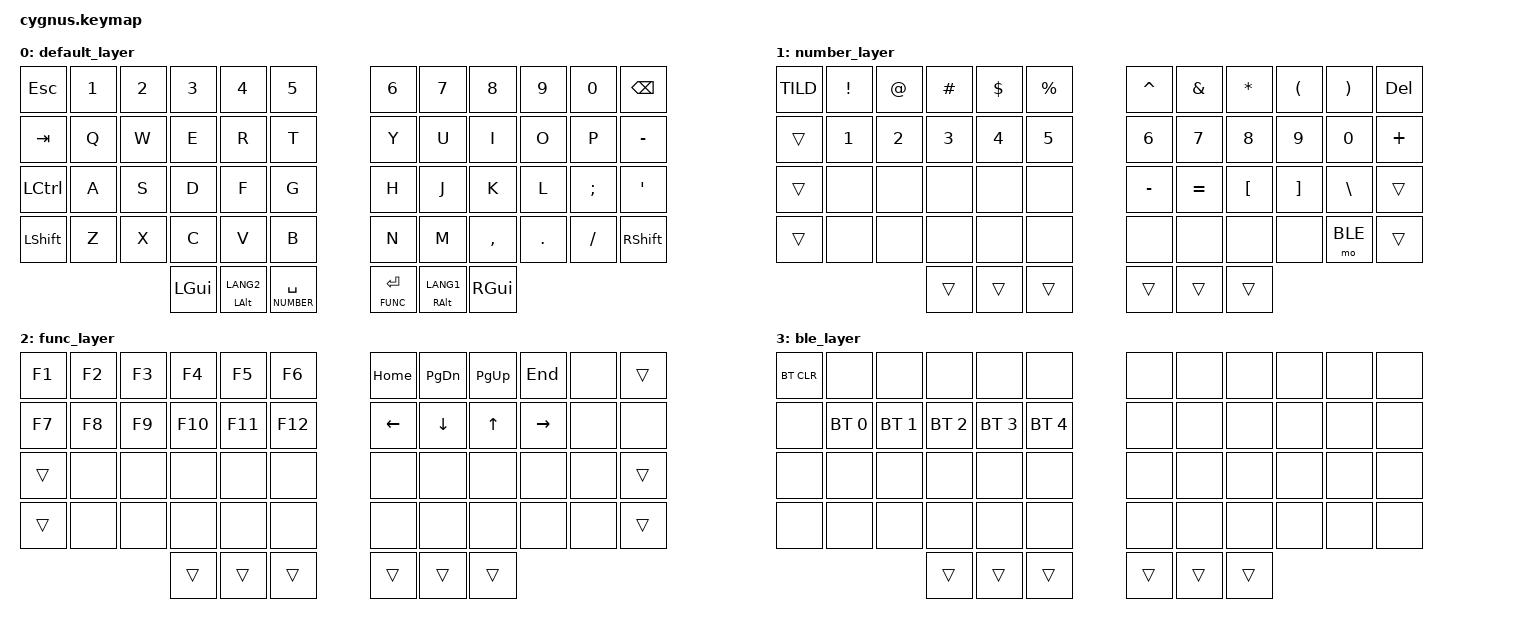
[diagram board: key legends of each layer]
#include <behaviors.dtsi>
#include <dt-bindings/zmk/bt.h>
#include <dt-bindings/zmk/keys.h>

// レイヤー名に番号（ID）を再割り当て（0〜3の4レイヤー構成）

#define DEFAULT 0
#define NUMBER  1
#define FUNC    2
#define BLE     3

/ {
    keymap {
        compatible = "zmk,keymap";

        // レイヤー 0 : デフォルト

        default_layer {
            bindings = <
&kp ESC    &kp N1  &kp N2  &kp N3    &kp N4          &kp N5            &kp N6          &kp N7          &kp N8     &kp N9   &kp N0    &kp BSPC
&kp TAB    &kp Q   &kp W   &kp E     &kp R           &kp T             &kp Y           &kp U           &kp I      &kp O    &kp P     &kp MINUS
&kp LCTRL  &kp A   &kp S   &kp D     &kp F           &kp G             &kp H           &kp J           &kp K      &kp L    &kp SEMI  &kp SQT
&kp LSHFT  &kp Z   &kp X   &kp C     &kp V           &kp B             &kp N           &kp M           &kp COMMA  &kp DOT  &kp FSLH  &kp RSHFT
                           &kp LGUI  &mt LALT LANG2  &lt NUMBER SPACE  &lt FUNC ENTER  &mt RALT LANG1  &kp RGUI
            >;
        };

        // レイヤー 1 : 数字・記号 (左親指ホールドで切り替え)

        number_layer {
            bindings = <
&kp TILD  &kp EXCL  &kp AT  &kp HASH  &kp DLLR  &kp PRCNT  &kp CARET  &kp AMPS   &kp ASTRK  &kp LPAR  &kp RPAR  &kp DEL
&trans    &kp N1    &kp N2  &kp N3    &kp N4    &kp N5     &kp N6     &kp N7     &kp N8     &kp N9    &kp N0    &kp PLUS
&trans    &none     &none   &none     &none     &none      &kp MINUS  &kp EQUAL  &kp LBKT   &kp RBKT  &kp BSLH  &trans
&trans    &none     &none   &none     &none     &none      &none      &none      &none      &none     &mo BLE   &trans
                            &trans    &trans    &trans     &trans     &trans     &trans
            >;
        };

        // レイヤー 2 : ファンクション・矢印 (右親指ホールドで切り替え)

        func_layer {
            bindings = <
&kp F1  &kp F2  &kp F3  &kp F4   &kp F5   &kp F6   &kp HOME  &kp PG_DN  &kp PG_UP  &kp END    &none  &trans
&kp F7  &kp F8  &kp F9  &kp F10  &kp F11  &kp F12  &kp LEFT  &kp DOWN   &kp UP     &kp RIGHT  &none  &none
&trans  &none   &none   &none    &none    &none    &none     &none      &none      &none      &none  &trans
&trans  &none   &none   &none    &none    &none    &none     &none      &none      &none      &none  &trans
                        &trans   &trans   &trans   &trans    &trans     &trans
            >;
        };

        // レイヤー 3 : BLE (Bluetooth切り替え)

        ble_layer {
            bindings = <
&bt BT_CLR  &none         &none         &none         &none         &none         &none   &none   &none   &none  &none  &none
&none       &bt BT_SEL 0  &bt BT_SEL 1  &bt BT_SEL 2  &bt BT_SEL 3  &bt BT_SEL 4  &none   &none   &none   &none  &none  &none
&none       &none         &none         &none         &none         &none         &none   &none   &none   &none  &none  &none
&none       &none         &none         &none         &none         &none         &none   &none   &none   &none  &none  &none
                                        &trans        &trans        &trans        &trans  &trans  &trans
            >;
        };
    };
};
